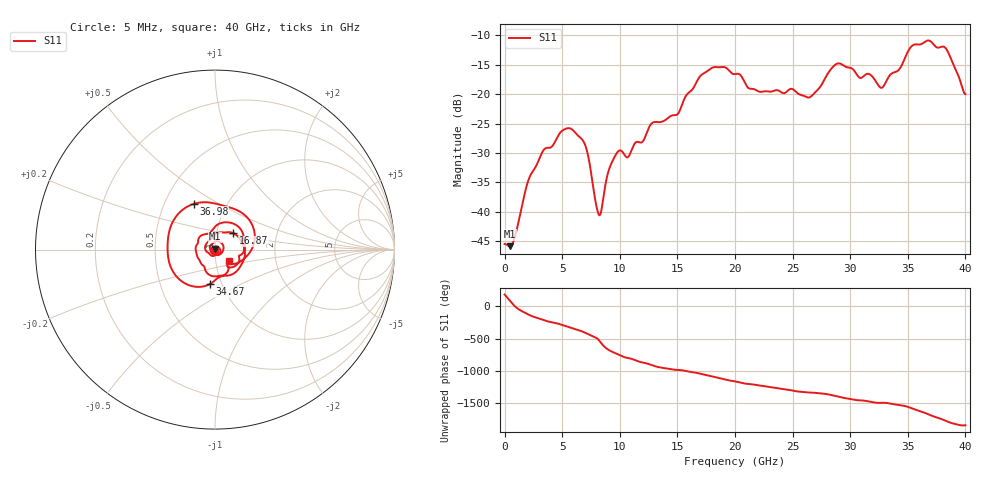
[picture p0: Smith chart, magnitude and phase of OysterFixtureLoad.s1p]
# MHz MA S R 50.0
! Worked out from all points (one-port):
!   8000 points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, 5 MHz to 40 GHz, reference 50 ohm
!   lowest |S11| = -45.8 dB at 445 MHz (marker M1), VSWR 1.01, Z = 50 + j0.511 ohm
!   |S11| at or under -10 dB: start of sweep to end of sweep
!   S11 on the Smith chart (normalised r, x): 5 MHz: 0.99, +0.00; 16.87 GHz: 1.21, +0.23; 34.67 GHz: 0.88, -0.35; 36.98 GHz: 0.70, +0.39; 40 GHz: 1.16, -0.15
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5  0.005336 179.0
445  0.005113 88.6
895  0.006148 -1.7
2220  0.0202 -142.5
5005  0.04889 69.6
6925  0.03843 -44.7
8210  0.009391 -169.3
9095  0.02335 37.9
10005  0.03328 -39.2
10710  0.02915 -80.5
12800  0.0568 167.7
15005  0.06747 94.6
16870  0.1375 41.8
18230  0.1698 -14.5
20005  0.1482 -81.7
22105  0.105 -143.3
25005  0.1104 135.7
26480  0.09401 106.7
28710  0.1781 53.6
30005  0.1676 6.3
32720  0.1132 -52.9
34675  0.1947 -98.7
35005  0.2296 -115.2
36020  0.2643 -179.8
36985  0.2809 115.0
38350  0.2412 24.7
39085  0.1673 -18.7
40000  0.09994 -39.0
